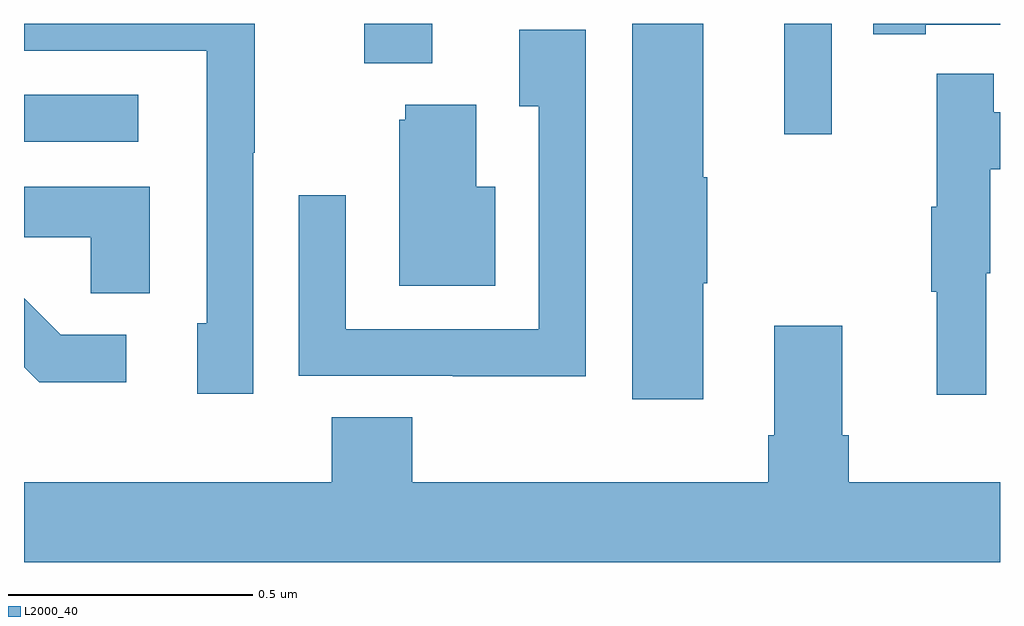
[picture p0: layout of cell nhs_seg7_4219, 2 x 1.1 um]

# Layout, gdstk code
import gdstk
lib = gdstk.Library(unit=1e-6, precision=1e-09)
def R(c, l, rs):  # rectangles x0, y0, x1, y1
    for r in rs: c.add(gdstk.rectangle(r[:2], r[2:], *l))
def P(c, l, *ps):  # polygons
    for p in ps: c.add(gdstk.Polygon(p, *l))
L2000_40 = (2000, 40)

nhs_seg7_4219 = lib.new_cell('nhs_seg7_4219')
R(nhs_seg7_4219, L2000_40, [(169,1054.758,169.234,1054.854), (170.558,1054.773,170.655,1055), (169.697,1054.919,169.837,1055)])
P(nhs_seg7_4219, L2000_40, [(169.47,1054.735),(169.473,1054.735),(169.473,1055),(169,1055),(169,1054.944),(169.374,1054.944),(169.374,1054.386),(169.355,1054.386),(169.355,1054.242),(169.47,1054.242)],
  [(170.392,1054.468),(170.4,1054.468),(170.4,1054.685),(170.392,1054.685),(170.392,1055),(170.246,1055),(170.246,1054.23),(170.392,1054.23)],
  [(170.848,1054.998),(171,1054.998),(171,1055),(170.74,1055),(170.74,1054.978),(170.848,1054.978)],
  [(170.151,1054.987),(170.015,1054.987),(170.015,1054.831),(170.055,1054.831),(170.055,1054.374),(169.659,1054.374),(169.659,1054.648),(169.563,1054.648),(169.563,1054.278),(169.879,1054.278),(169.879,1054.277),(170.151,1054.277)],
  [(170.972,1054.488),(170.98,1054.488),(170.98,1054.702),(171,1054.702),(171,1054.818),(170.987,1054.818),(170.987,1054.897),(170.87,1054.897),(170.87,1054.625),(170.859,1054.625),(170.859,1054.451),(170.87,1054.451),(170.87,1054.239),(170.972,1054.239)],
  [(169.966,1054.666),(169.927,1054.666),(169.927,1054.834),(169.781,1054.834),(169.781,1054.803),(169.769,1054.803),(169.769,1054.463),(169.966,1054.463)],
  [(169.258,1054.666),(169,1054.666),(169,1054.562),(169.137,1054.562),(169.137,1054.447),(169.258,1054.447)],
  [(169.21,1054.362),(169.075,1054.362),(169,1054.437),(169,1054.296),(169.031,1054.265),(169.21,1054.265)],
  [(171,1054.06),(170.69,1054.06),(170.69,1054.156),(170.677,1054.156),(170.677,1054.381),(170.537,1054.381),(170.537,1054.156),(170.525,1054.156),(170.525,1054.06),(169.796,1054.06),(169.796,1054.193),(169.631,1054.193),(169.631,1054.06),(169,1054.06),(169,1053.896),(171,1053.896)])

lib.write_gds('nhs_seg7_4219.gds')
